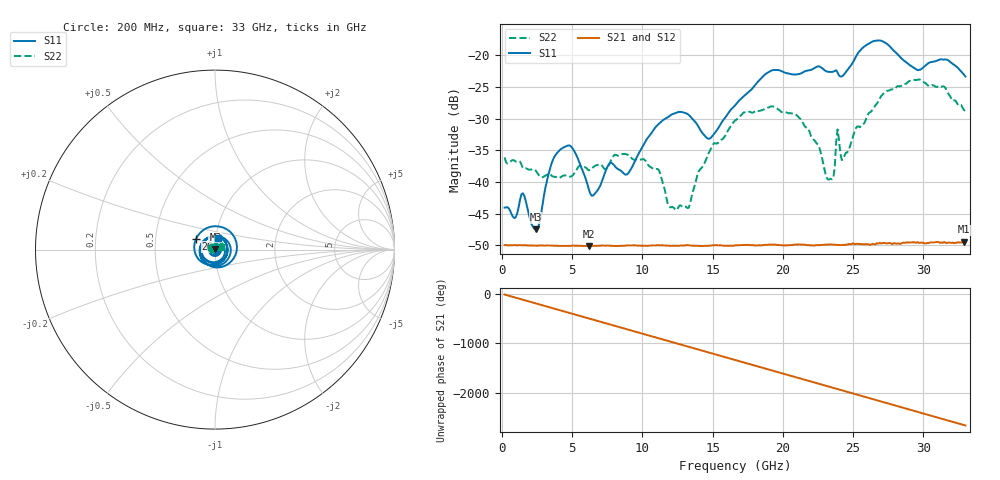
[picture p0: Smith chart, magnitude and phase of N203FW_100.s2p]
# GHZ S RI R 50
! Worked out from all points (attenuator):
!   329 points, 200 MHz to 33 GHz, reference 50 ohm
!   highest |S21| = -49.43 dB at 32.9 GHz (marker M1); lowest = -50.1 dB at 6.2 GHz (marker M2)
!   lowest |S11| = -47.4 dB at 2.4 GHz (marker M3), VSWR 1.01, Z = 50.2 + j0.355 ohm
!   |S11| at or under -10 dB: start of sweep to end of sweep
!   |S22| runs from -44.4 to -23.8 dB; largest |S21 - S12| = 8.8e-05
!   S11 on the Smith chart (normalised r, x): 200 MHz: 1.01, +0.01; 26 GHz: 0.80, +0.10; 33 GHz: 1.03, +0.14
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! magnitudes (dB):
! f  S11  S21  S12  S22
! 200 MHz  -44.0  -50.0  -49.9  -36.1
! 1.5 GHz  -41.8  -50.0  -50.0  -37.8
! 2.4 GHz  -47.4  -50.0  -50.0  -38.2
! 3.8 GHz  -35.8  -50.1  -50.0  -39.2
! 5.7 GHz  -37.9  -50.1  -50.1  -37.6
! 6.2 GHz  -41.2  -50.1  -50.1  -38.2
! 9 GHz  -38.6  -50.0  -50.0  -35.8
! 11.2 GHz  -30.8  -50.0  -50.0  -38.2
! 11.9 GHz  -29.7  -50.1  -50.0  -43.8
! 13.3 GHz  -29.4  -50.0  -50.0  -44.0
! 14.8 GHz  -33.1  -50.0  -50.0  -35.1
! 16.6 GHz  -27.9  -50.0  -50.0  -30.3
! 19.3 GHz  -22.3  -49.9  -49.9  -28.1
! 22.1 GHz  -22.2  -50.0  -50.0  -33.0
! 23.5 GHz  -22.6  -49.9  -49.8  -39.6
! 23.9 GHz  -22.7  -49.9  -49.9  -31.7
! 24.3 GHz  -23.2  -49.9  -49.9  -36.5
! 26 GHz  -18.3  -49.9  -49.8  -29.6
! 27.6 GHz  -18.6  -49.6  -49.6  -25.5
! 29.8 GHz  -22.3  -49.6  -49.7  -23.9
! 32.9 GHz  -23.0  -49.4  -49.4  -28.6
! 33 GHz  -23.4  -49.4  -49.5  -28.9
